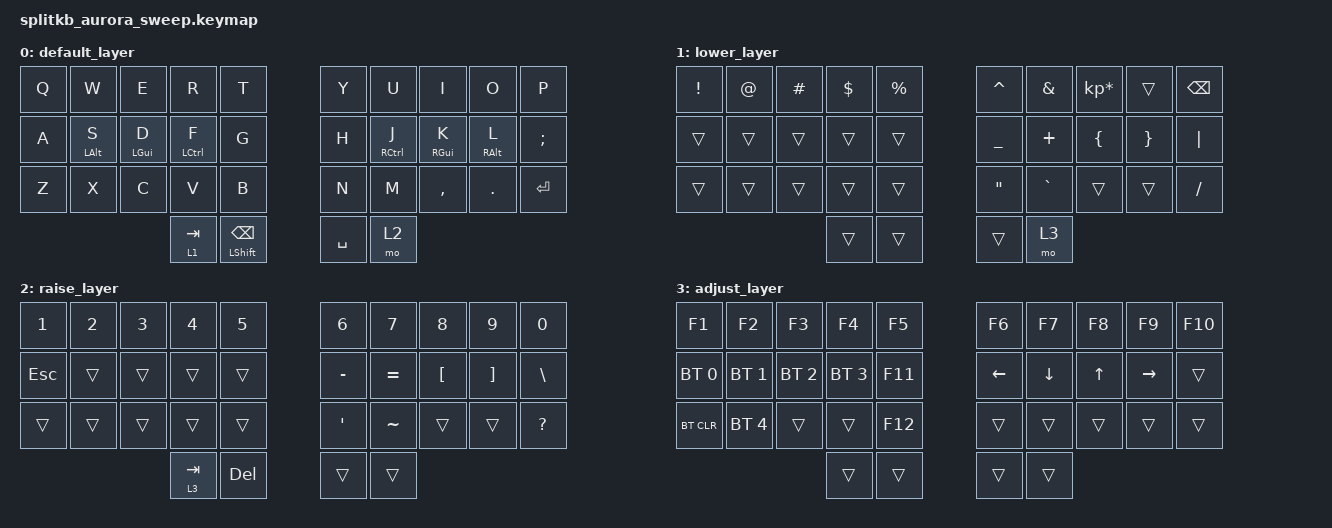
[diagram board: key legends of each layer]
/*
 * Copyright (c) 2022 The ZMK Contributors
 *
 * SPDX-License-Identifier: MIT
 */

#include <behaviors.dtsi>
#include <dt-bindings/zmk/keys.h>
#include <dt-bindings/zmk/bt.h>


/ {
        behaviors {
            hm: homerow_mods {
                compatible = "zmk,behavior-hold-tap";
                label = "HOMEROW_MODS";
                #binding-cells = <2>;
                tapping-term-ms = <200>;
                quick-tap-ms = <0>;
                flavor = "tap-preferred";
                bindings = <&kp>, <&kp>;
            };
        };

        keymap {
                compatible = "zmk,keymap";

                default_layer {
// -----------------------------------------------------------------------------------------
// |  Q  |  W  |  E  |  R  |  T  |   |  Y  |  U   |  I  |  O  |  P  |
// |  A  |  S  |  D  |  F  |  G  |   |  H  |  J   |  K  |  L  |  ;  |
// |  Z  |  X  |  C  |  V  |  B  |   |  N  |  M   |  ,  |  .  | RET |
//                   |LWR  |SHFT |   | SPC | RSE  |
                        bindings = <
   &kp Q       &kp W      &kp E      &kp R       &kp T     &kp Y &kp U        &kp I          &kp O        &kp P
   &kp A       &hm LALT S &hm LGUI D &hm LCTRL F &kp G     &kp H &hm RCTRL J  &hm RGUI K     &hm RALT L   &kp SEMI
   &kp Z       &kp X      &kp C      &kp V       &kp B     &kp N &kp M        &kp COMMA      &kp DOT      &kp RET
                             &lt 1 TAB &mt LSHIFT BSPC     &kp SPACE &mo 2
                        >;
                };
                
                lower_layer {
// ------------------------------------------------------------------
// |  !  |  @  |  #  |  $  |  %  |   |  ^  |  &   |  *  |     |BSPC |
// |     |     |     |     |     |   |  _  |  +   |  {  |  }  |  |  |
// |     |     |     |     |     |   |  "  |  `   |     |     |  /  |
//                   |LWR  |SHFT |   | SPC | RSE  |
                        bindings = <
   &kp EXCL &kp AT  &kp HASH &kp DLLR &kp PRCNT &kp CARET &kp AMPS  &kp KP_MULTIPLY  &trans    &kp BSPC
   &trans   &trans  &trans   &trans   &trans    &kp UNDER &kp PLUS  &kp LBRC         &kp RBRC  &kp PIPE
   &trans   &trans  &trans   &trans   &trans    &kp DQT   &kp GRAVE &trans           &trans    &kp FSLH
                             &trans   &trans    &trans    &mo 3
                        >;
                };
                
                raise_layer {
// ------------------------------------------------------------------
// |  1  |  2  |  3  |  4  |  5  |   |  6  |  7   |  8  |  9  |  0  |
// | ESC |     |     |     |     |   |  -  |  =   |  [  |  ]  |  \  |
// |     |     |     |     |     |   |  '  |   ~  |     |     |  ?  |
//                   |LWR  |SHFT |   | SPC | RSE  |
                        bindings = <
   &kp N1  &kp N2  &kp N3  &kp N4  &kp N5   &kp N6    &kp N7    &kp N8    &kp N9    &kp N0
   &kp ESC &trans  &trans  &trans  &trans   &kp MINUS &kp EQUAL &kp LBKT  &kp RBKT  &kp BSLH
   &trans  &trans  &trans  &trans  &trans   &kp SQT   &kp TILDE &trans    &trans    &kp QMARK
                        &lt 3 TAB &kp DEL   &trans &trans
                        >;
                };
                
                adjust_layer {
// ------------------------------------------------------------------
// |  F1  |  F2  |  F3  |  F4  |  F5 |   |  F6 |  F7  |  F8 |  F9 | F10 |
// |  BT 0| BT 1 | BT 2 | BT 3 | F11 |   | LEFT| DOWN |  UP | LEFT|     |
// |BTCLR | BT 4 |      |      | F12 |   |     |      |     |     |     |
//                     |LWR   |SHFT |   | SPC | RSE  |
                        bindings = <
   &kp F1        &kp F2       &kp F3       &kp F4       &kp F5     &kp F6    &kp F7   &kp F8    &kp F9    &kp F10
   &bt BT_SEL 0  &bt BT_SEL 1 &bt BT_SEL 2 &bt BT_SEL 3 &kp F11    &kp LEFT  &kp DOWN &kp UP    &kp RIGHT &trans
   &bt BT_CLR    &bt BT_SEL 4 &trans       &trans       &kp F12    &trans    &trans   &trans    &trans    &trans
                                                  &trans &trans    &trans &trans
                        >;
                };
        };
};
